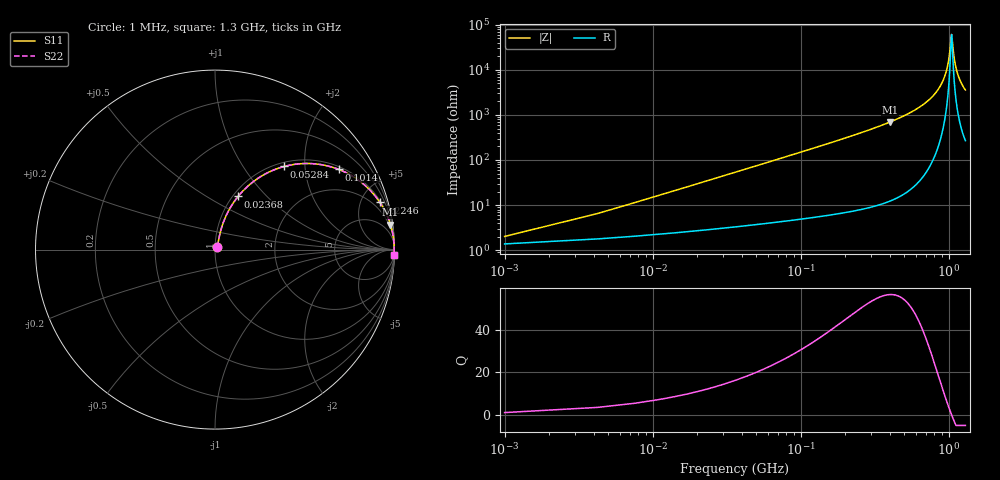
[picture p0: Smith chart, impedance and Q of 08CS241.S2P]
! Coilcraft 0805CS-241 Chip Inductor
! 11 June 2002
# MHZ S MA R 50
!Freq  MagS11  AngS11  MagS21  AngS21  MagS12  AngS12  MagS22  AngS22
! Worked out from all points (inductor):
!   402 points, 1 MHz to 1.3 GHz, reference 50 ohm
!   read as one part in series: L = 235 nH near 7.48 MHz
!   highest Q = 56.7 at 402.8 MHz (marker M1), where L = 276 nH
!   self-resonance near 1.048 GHz
!   S11 on the Smith chart (normalised r, x): 1 MHz: 1.03, +0.03; 23.68 MHz: 1.06, +0.70; 52.84 MHz: 1.08, +1.56; 101.4 MHz: 1.10, +3.02; 224.6 MHz: 1.15, +6.95; 1.3 GHz: 6, -71
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1  0.01993 46.1  0.9863 -0.8  0.9863 -0.8  0.01993 46.1
10.72  0.1545 73.1  0.9665 -8.8  0.9665 -8.8  0.1545 73.1
17.2  0.2416 70.3  0.9463 -13.9  0.9463 -13.9  0.2416 70.3
23.68  0.3231 66.6  0.9205 -18.8  0.9205 -18.8  0.3231 66.6
52.84  0.6026 50.2  0.7695 -37.0  0.7695 -37.0  0.6026 50.2
101.44  0.822 32.9  0.5434 -55.2  0.5434 -55.2  0.822 32.9
150.04  0.906 23.6  0.4005 -64.9  0.4005 -64.9  0.906 23.6
218.08  0.9531 16.4  0.2831 -72.3  0.2831 -72.3  0.9531 16.4
224.56  0.9557 16.0  0.275 -72.8  0.275 -72.8  0.9557 16.0
402.76  0.9874 8.1  0.1415 -80.9  0.1415 -80.9  0.9874 8.1
435.16  0.9896 7.3  0.1275 -81.7  0.1275 -81.7  0.9896 7.3
652.24  0.9965 3.6  0.06346 -85.0  0.06346 -85.0  0.9965 3.6
869.32  0.9982 1.4  0.02438 -85.2  0.02438 -85.2  0.9982 1.4
934.12  0.9984 0.9  0.01504 -83.4  0.01504 -83.4  0.9984 0.9
982.72  0.9984 0.5  0.008545 -79.1  0.008545 -79.1  0.9984 0.5
1011.88  0.9984 0.3  0.004894 -70.8  0.004894 -70.8  0.9984 0.3
1047.52  0.9984 0.0  0.001643 -5.8  0.001643 -5.8  0.9984 0.0
1057.24  0.9984 -0.1  0.00194 31.8  0.00194 31.8  0.9984 -0.1
1086.4  0.9983 -0.3  0.004836 69.3  0.004836 69.3  0.9983 -0.3
1118.8  0.9982 -0.5  0.008502 77.7  0.008502 77.7  0.9982 -0.5
1164.16  0.9981 -0.8  0.01358 81.5  0.01358 81.5  0.9981 -0.8
1300  0.9975 -1.6  0.02793 84.1  0.02793 84.1  0.9975 -1.6
